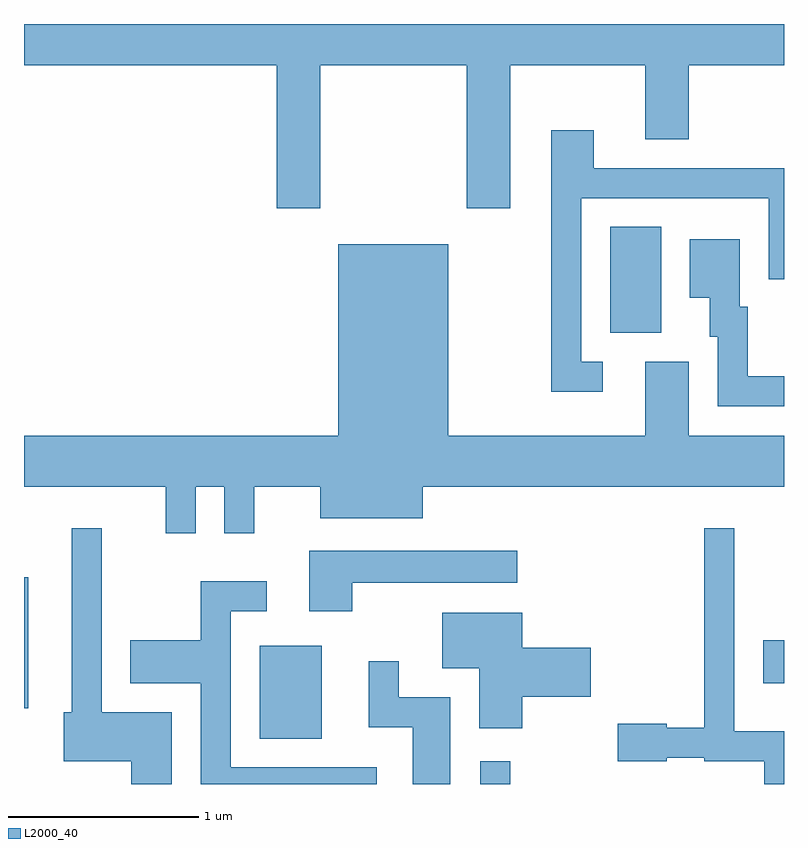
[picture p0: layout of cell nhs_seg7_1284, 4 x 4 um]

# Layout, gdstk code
import gdstk
lib = gdstk.Library(unit=1e-6, precision=1e-09)
def R(c, l, rs):  # rectangles x0, y0, x1, y1
    for r in rs: c.add(gdstk.rectangle(r[:2], r[2:], *l))
def P(c, l, *ps):  # polygons
    for p in ps: c.add(gdstk.Polygon(p, *l))
L2000_40 = (2000, 40)

nhs_seg7_1284 = lib.new_cell('nhs_seg7_1284')
R(nhs_seg7_1284, L2000_40, [(226.011,1768.252,226.169,1768.373), (224.851,1768.491,225.179,1768.979), (223.611,1768.651,223.634,1769.339), (227.501,1768.781,227.611,1769.009), (226.696,1770.626,226.964,1771.184)])
P(nhs_seg7_1284, L2000_40, [(225.169,1772.036),(225.941,1772.036),(225.941,1771.281),(226.169,1771.281),(226.169,1772.036),(226.881,1772.036),(226.881,1771.646),(227.109,1771.646),(227.109,1772.036),(227.611,1772.036),(227.611,1772.252),(223.611,1772.252),(223.611,1772.036),(224.941,1772.036),(224.941,1771.281),(225.169,1771.281)],
  [(226.658,1770.474),(226.544,1770.474),(226.544,1771.336),(227.531,1771.336),(227.531,1770.908),(227.611,1770.908),(227.611,1771.494),(226.609,1771.494),(226.609,1771.694),(226.386,1771.694),(226.386,1770.316),(226.658,1770.316)],
  [(227.611,1770.399),(227.419,1770.399),(227.419,1770.764),(227.379,1770.764),(227.379,1771.119),(227.116,1771.119),(227.116,1770.811),(227.221,1770.811),(227.221,1770.606),(227.261,1770.606),(227.261,1770.241),(227.611,1770.241)],
  [(224.514,1769.816),(224.666,1769.816),(224.666,1769.573),(224.824,1769.573),(224.824,1769.816),(225.171,1769.816),(225.171,1769.651),(225.709,1769.651),(225.709,1769.816),(227.611,1769.816),(227.611,1770.084),(227.109,1770.084),(227.109,1770.474),(226.881,1770.474),(226.881,1770.084),(225.844,1770.084),(225.844,1771.094),(225.266,1771.094),(225.266,1770.084),(223.611,1770.084),(223.611,1769.816),(224.356,1769.816),(224.356,1769.573),(224.514,1769.573)],
  [(227.611,1768.529),(227.349,1768.529),(227.349,1769.598),(227.191,1769.598),(227.191,1768.549),(226.994,1768.549),(226.994,1768.569),(226.736,1768.569),(226.736,1768.371),(226.994,1768.371),(226.994,1768.391),(227.191,1768.391),(227.191,1768.371),(227.506,1768.371),(227.506,1768.252),(227.611,1768.252)],
  [(224.389,1768.629),(224.019,1768.629),(224.019,1769.598),(223.861,1769.598),(223.861,1768.629),(223.821,1768.629),(223.821,1768.371),(224.176,1768.371),(224.176,1768.252),(224.389,1768.252)],
  [(225.339,1769.311),(226.208,1769.311),(226.208,1769.479),(225.111,1769.479),(225.111,1769.161),(225.339,1769.161)],
  [(225.468,1768.339),(224.699,1768.339),(224.699,1769.161),(224.888,1769.161),(224.888,1769.319),(224.541,1769.319),(224.541,1769.009),(224.171,1769.009),(224.171,1768.781),(224.541,1768.781),(224.541,1768.252),(225.468,1768.252)],
  [(226.234,1768.711),(226.594,1768.711),(226.594,1768.969),(226.234,1768.969),(226.234,1769.154),(225.811,1769.154),(225.811,1768.861),(226.006,1768.861),(226.006,1768.546),(226.234,1768.546)],
  [(225.854,1768.709),(225.584,1768.709),(225.584,1768.898),(225.426,1768.898),(225.426,1768.551),(225.656,1768.551),(225.656,1768.252),(225.854,1768.252)])

lib.write_gds('nhs_seg7_1284.gds')
